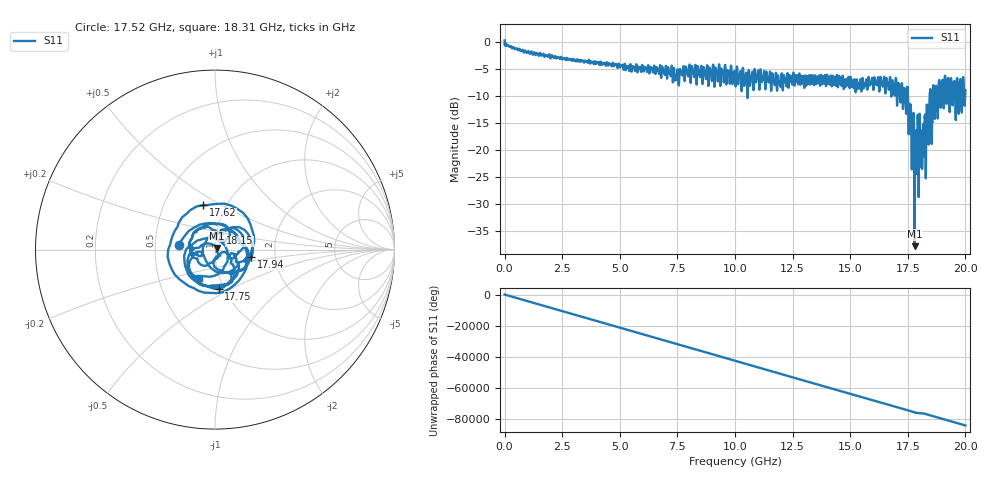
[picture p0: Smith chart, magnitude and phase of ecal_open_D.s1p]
! MS46122B
! 2250307/22442219
! 6/16/2025 7:45:06 AM
! C:\USERS\SPARKY\DOCUMENTS\VNA_DATA\JUNE16_2025\3.1K\ECAL_OPEN_D.S1P
! CHANNEL.1
! TR.MEASUREMENT
! RAW.DATA
# GHZ S RI R 50.0
! FREQ.GHZ  S11RE  S11IM
!; PortSelection: Port_1
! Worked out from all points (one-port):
!   10001 points, 1 MHz to 20 GHz, reference 50 ohm
!   lowest |S11| = -37.8 dB at 17.8 GHz (marker M1), VSWR 1.03, Z = 50.9 + j0.929 ohm
!   |S11| at or under -10 dB: 17.51 GHz to 18.45 GHz (944.1 MHz wide, 5.25 % of centre); 18.49602 GHz to 18.57959 GHz (83.57 MHz wide, 0.451 % of centre); 18.75725 GHz to 18.8231 GHz (65.85 MHz wide, 0.35 % of centre) (the widest 3 of 19)
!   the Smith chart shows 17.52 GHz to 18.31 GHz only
!   S11 on the Smith chart (normalised r, x): 17.52 GHz: 0.66, +0.03; 17.62 GHz: 0.78, +0.41; 17.75 GHz: 0.95, -0.44; 17.94 GHz: 1.50, -0.13; 18.15 GHz: 1.04, +0.19; 18.31 GHz: 0.80, -0.26
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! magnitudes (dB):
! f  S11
! 1 MHz  0.2
! 2.501 GHz  -3.2
! 5.001 GHz  -4.6
! 7.501 GHz  -5.1
! 10 GHz  -5.9
! 10.47 GHz  -6.3
! 12.5 GHz  -7.5
! 15 GHz  -7.1
! 16.66 GHz  -8.3
! 17.41 GHz  -11.9
! 17.5 GHz  -9.2
! 17.52 GHz  -13.8
! 17.62 GHz  -11.8
! 17.68 GHz  -23.6
! 17.75 GHz  -13.2
! 17.8 GHz  -37.8
! 17.88 GHz  -20.9
! 17.94 GHz  -13.7
! 18.06 GHz  -22.3
! 18.15 GHz  -20.3
! 18.31 GHz  -14.9
! 18.41 GHz  -18.9
! 18.47 GHz  -9.1
! 18.53 GHz  -18.4
! 18.93 GHz  -11.9
! 19.45 GHz  -11.6
! 19.65 GHz  -6.8
! 20 GHz  -9.0
